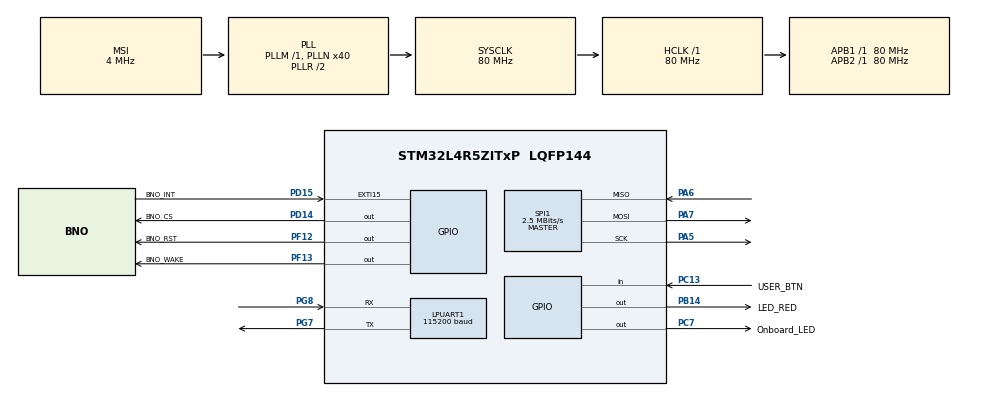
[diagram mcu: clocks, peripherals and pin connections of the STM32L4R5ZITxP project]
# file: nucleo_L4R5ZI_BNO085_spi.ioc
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LPUART1.BaudRate=115200
LPUART1.WordLength=UART_WORDLENGTH_8B
Mcu.Family=STM32L4
Mcu.Name=STM32L4R5ZITxP
Mcu.Package=LQFP144
NVIC.EXTI15_10_IRQn=true\:0\:0\:false\:false\:true\:true\:true\:true
NVIC.LPUART1_IRQn=true\:0\:0\:false\:false\:true\:true\:true\:true
NVIC.PriorityGroup=NVIC_PRIORITYGROUP_4
PA5.Mode=Full_Duplex_Master
PA5.Signal=SPI1_SCK
PA6.Mode=Full_Duplex_Master
PA6.Signal=SPI1_MISO
PA7.Mode=Full_Duplex_Master
PA7.Signal=SPI1_MOSI
PB14.GPIO_Label=LED_RED
PB14.Signal=GPIO_Output
PC13.GPIO_Label=USER_BTN
PC13.Signal=GPIO_Input
PC14-OSC32_IN\ (PC14).Mode=LSE-External-Oscillator
PC14-OSC32_IN\ (PC14).Signal=RCC_OSC32_IN
PC15-OSC32_OUT\ (PC15).Mode=LSE-External-Oscillator
PC15-OSC32_OUT\ (PC15).Signal=RCC_OSC32_OUT
PC7.GPIO_Label=Onboard_LED
PC7.Signal=GPIO_Output
PD14.GPIO_Label=BNO_CS
PD14.PinState=GPIO_PIN_SET
PD14.Signal=GPIO_Output
PD15.GPIO_Label=BNO_INT
PD15.GPIO_ModeDefaultEXTI=GPIO_MODE_IT_FALLING
PD15.GPIO_PuPd=GPIO_PULLUP
PD15.Signal=GPXTI15
PF12.GPIO_Label=BNO_RST
PF12.PinState=GPIO_PIN_SET
PF12.Signal=GPIO_Output
PF13.GPIO_Label=BNO_WAKE
PF13.PinState=GPIO_PIN_SET
PF13.Signal=GPIO_Output
PG7.Mode=Asynchronous
PG7.Signal=LPUART1_TX
PG8.Mode=Asynchronous
PG8.Signal=LPUART1_RX
ProjectManager.HeapSize=0x200
ProjectManager.StackSize=0x400
ProjectManager.TargetToolchain=CMake
RCC.ADCFreq_Value=48000000
RCC.AHBFreq_Value=80000000
RCC.APB1Freq_Value=80000000
RCC.APB1TimFreq_Value=80000000
RCC.APB2Freq_Value=80000000
RCC.APB2TimFreq_Value=80000000
RCC.CortexFreq_Value=80000000
RCC.HCLKFreq_Value=80000000
RCC.HSE_VALUE=8000000
RCC.HSI48_VALUE=48000000
RCC.HSI_VALUE=16000000
RCC.MSIAutoCalibration=ENABLED
RCC.MSI_VALUE=4000000
RCC.PLLN=40
RCC.PLLSAI1N=24
RCC.SYSCLKFreq_VALUE=80000000
RCC.SYSCLKSource=RCC_SYSCLKSOURCE_PLLCLK
RCC.USBFreq_Value=48000000
RCC.VCOOutputFreq_Value=160000000
SPI1.BaudRatePrescaler=SPI_BAUDRATEPRESCALER_32
SPI1.CLKPhase=SPI_PHASE_2EDGE
SPI1.CLKPolarity=SPI_POLARITY_HIGH
SPI1.CalculateBaudRate=2.5 MBits/s
SPI1.DataSize=SPI_DATASIZE_8BIT
SPI1.Direction=SPI_DIRECTION_2LINES
SPI1.Mode=SPI_MODE_MASTER
SPI1.VirtualType=VM_MASTER
board=NUCLEO-L4R5ZI-P

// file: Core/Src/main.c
/* USER CODE BEGIN Header */
/**
  ******************************************************************************
  * @file           : main.c
  * @brief          : Main program body
  ******************************************************************************
  * @attention
  *
  * Copyright (c) 2026 STMicroelectronics.
  * All rights reserved.
  *
  * This software is licensed under terms that can be found in the LICENSE file
  * in the root directory of this software component.
  * If no LICENSE file comes with this software, it is provided AS-IS.
  *
  ******************************************************************************
  */
/* USER CODE END Header */
#include "main.h"

/* USER CODE BEGIN Includes */
#include <stdio.h>
#include <math.h>
#include "bno085.h"
#include "timebase.h"
#include "uart_tx.h"

/* USER CODE END Includes */

/* USER CODE BEGIN PTD */
/* Product ID isteğinin durumu (3. aşama) */
typedef enum
{
  PID_IDLE,      /* reset complete bekleniyor, istek henüz gitmedi */
  PID_WAITING,   /* istek gitti, 0xF8 cevabı bekleniyor */
  PID_DONE,      /* cevap geldi (ya da zaman aşımı uyarısı basıldı) */
} pid_state_t;

/* Bir raporun gerçek geliş hızını RATE_WINDOW_MS'lik pencerede ölçer. */
typedef struct
{
  uint32_t t0;   /* pencerenin başladığı an (0 = henüz başlamadı) */
  uint32_t n0;   /* o andaki rapor sayacı */
  uint32_t hz;   /* son ölçülen hız (0 = henüz ölçülmedi) */
} rate_t;

/* ME (dinamik) kalibrasyon ayarının durumu: oku -> gerekirse gyro'yu aç -> tekrar oku */
typedef enum
{
  CAL_IDLE,        /* raporlar açılınca CAL_SEND_GET'e geçer */
  CAL_SEND_GET,    /* ana döngü Get ME Calibration gönderecek */
  CAL_WAIT_GET,    /* okuma cevabı bekleniyor */
  CAL_SEND_SET,    /* gyro kapalı çıktı: ana döngü açan Configure'ı gönderecek */
  CAL_WAIT_SET,    /* ayarlama cevabı bekleniyor (sonra doğrulamak için tekrar Get) */
  CAL_SEND_DCD_OFF,/* sensörün kendi periyodik DCD kaydını kapat (cevabı yok) */
  CAL_DONE,
} cal_state_t;

/* Buton basılıyken LED geri bildirimi */
typedef enum
{
  LED_FB_OFF,      /* geri bildirim yok (LD1 normal heartbeat) */
  LED_FB_FAST,     /* 2 s geçti: bırakırsan KAYDET */
  LED_FB_SOLID,    /* 6 s geçti: bırakırsan SİL */
} led_fb_t;

/* USER CODE END PTD */

/* USER CODE BEGIN PD */
#define LED_BLINK_MS    500U    /* LD1 (PC7) "yaşıyorum" yanıp sönmesi, yarım periyot */
#define LED_FAST_MS     100U    /* buton 2 s'yi geçti: hızlı yanıp sönme, yarım periyot */
#define FRS_TIMEOUT_MS  2000U   /* FRS silme (flash erase) için bekleme süresi */
#define BOOT_REPLAY_MS  4000U   /* güçle açılışta açılış logunu bu kadar sonra tekrar bas */

/* Buton geri bildirim LED'i: CubeMX'te PB14 (LD3, kırmızı) "LED_RED" etiketiyle
   GPIO_Output yapılmışsa o kullanılır (main.h'de LED_RED_Pin tanımlı olur);
   yapılmamışsa yeşil LD1 (heartbeat'i geçici olarak devralır). */
#ifdef LED_RED_Pin
#define FB_LED_PORT     LED_RED_GPIO_Port
#define FB_LED_PIN      LED_RED_Pin
#define FB_LED_IS_LD1   0
#else
#define FB_LED_PORT     Onboard_LED_GPIO_Port
#define FB_LED_PIN      Onboard_LED_Pin
#define FB_LED_IS_LD1   1
#endif
#define CMD_TIMEOUT_MS  1000U   /* SH-2 komut cevabı (Product ID, ME Calibration) için bekleme */
#define REPORT_INTERVAL_US 10000U  /* açılan tüm raporların periyodu: 10 ms = 100 Hz */
#define RAD2DEG         (180.0f / 3.14159265f)
#define PRINT_MS        100U    /* terminale basma periyodu: 10 Hz */
#define RATE_WINDOW_MS  1000U   /* gerçek rapor hızını bu pencerede ölç */
#define STALL_MS        2000U   /* bu kadar süre rapor gelmezse teşhis bas + sensörü resetle */
#define TIMING_MS       1000U   /* zaman damgası / kayıp özetini bu sıklıkla bas */
#define SOFT_RESET_MS   500U    /* Clear DCD and Reset sonrası advertisement bekleme süresi */
#define BTN_DEBOUNCE_MS 20U     /* buton bu kadar süre aynı kalırsa durumu kabul et */
#define BTN_SAVE_MS     2000U   /* 2..6 s basılı tutup bırak: DCD kaydet */
#define BTN_CLEAR_MS    6000U   /* >= 6 s basılı tutup bırak: kalibrasyonu sil */
#define SAVE_MIN_ACC    2U      /* kayıt için accel/gyro/mag accuracy en az bu olmalı (0..3) */

/* USER CODE END PD */

UART_HandleTypeDef hlpuart1;

SPI_HandleTypeDef hspi1;

/* USER CODE BEGIN PV */
static uint8_t bno_rx[BNO085_RX_BUF_LEN];   /* son okunan SHTP paketi */

static bool        bno_reset_done = false;  /* ch1 "reset complete" görüldü mü */
static pid_state_t pid_state      = PID_IDLE;
static uint32_t    pid_t0;                  /* isteğin gönderildiği an (ms) */

/* Reset sonrası sırayla açılacak raporlar (hepsi REPORT_INTERVAL_US periyotla). */
static const struct
{
  uint8_t     id;
  const char *name;
} reports[] =
{
  { SH2_ROTATION_VECTOR, "Rotation Vector" },
  { SH2_ACCELEROMETER,   "Accelerometer" },
  { SH2_GYROSCOPE_CAL,   "Gyroscope (calibrated)" },
  { SH2_MAGNETIC_FIELD_CAL, "Magnetic field (calibrated)" },  /* mag accuracy'si için */
};
#define NUM_REPORTS  (sizeof(reports) / sizeof(reports[0]))

static uint8_t       reports_sent = 0;      /* kaç Set Feature gönderildi (0 = hiç) */
static bno085_data_t imu;                   /* input report'lardan çözülen son değerler */

static uint32_t      last_alive;            /* son yeni rapor (ya da son reset) anı, ms */
static uint32_t      empty_reads;           /* INT low'du ama header uzunluğu 0 geldi */

static cal_state_t   cal_state     = CAL_IDLE;
static uint32_t      cal_t0;                /* son kalibrasyon komutunun gönderildiği an */
static uint8_t       cal_flags;             /* gönderilecek BNO085_CAL_* bayrakları */
static bool          cal_set_tried = false; /* Configure bir kez denendi mi (döngüye girmesin) */

static bool          dcd_save_pending = false; /* Save DCD gönderildi, cevabı bekleniyor */
static led_fb_t      led_fb = LED_FB_OFF;   /* button_step ayarlar, led_step uygular */
static bool          replay_active = false; /* açılış logu tekrarı sürüyor (canlı satırlar bekler) */
static uint32_t      dcd_save_t0;

/* USER CODE END PV */

void SystemClock_Config(void);
static void MX_GPIO_Init(void);
static void MX_LPUART1_UART_Init(void);
static void MX_SPI1_Init(void);
/* USER CODE BEGIN PFP */
static void print_clock_info(void);
static void bno_restart(void);
static void restart_state(void);
static bool wait_for_packet(uint8_t ch, uint8_t first, uint32_t timeout_ms);
static void button_step(void);
static void save_dcd(void);
static void clear_dcd(void);
static void led_step(void);
static void uart_cmd_step(void);
static void print_sec(uint64_t t_us);
static const char *frs_status_str(uint8_t st);
static void print_stall_diag(void);
static void handle_packet(uint16_t len);
static bool after_write(bno085_status_t st, uint16_t len, const char *what);
static void cal_config_step(void);
static void handle_command_resp(const bno085_cmd_resp_t *resp);
static void print_cal_flags(uint8_t f);
static void request_product_id(void);
static void enable_next_report(void);
static void rate_update(rate_t *r, uint32_t count, uint32_t now);
static void print_hz(const rate_t *r);
static void print_orientation(void);
static void print_timing(void);
static void print_meta(const char *name, bno085_meta_t *m);
static void print_fixed(const char *label, float v, uint8_t decimals, int width);

/* USER CODE END PFP */

int main(void)
{

  /* MCU Configuration--------------------------------------------------------*/

  /* Reset of all peripherals, Initializes the Flash interface and the Systick. */
  HAL_Init();

  /* Configure the system clock */
  SystemClock_Config();

  /* Initialize all configured peripherals */
  MX_GPIO_Init();
  MX_LPUART1_UART_Init();
  MX_SPI1_Init();
  /* USER CODE BEGIN 2 */
  timebase_init();                /* DWT cycle sayacı -> µs zaman damgaları */
  /* __DATE__/__TIME__: main.c'nin derlendiği an -> kartta hangi sürüm var, görürüz. */
  printf("\r\n=== BNO085 SPI test (build %s %s) ===\r\n", __DATE__, __TIME__);
  print_clock_info();

  /* MCU neden resetlendi? RCC_CSR bayrakları sadece güç tamamen kesilince sıfırlanır;
     okuyup temizliyoruz ki bir sonraki açılışta sadece o resetin sebebi görünsün.
     Her iç reset (yazılım, BOR, watchdog) NRST pininde de darbe ürettiği için PIN
     bayrağı neredeyse hep set olur: tek başına PIN = siyah RESET butonu. */
  bool power_on = __HAL_RCC_GET_FLAG(RCC_FLAG_BORRST);
  bool rst_pin  = __HAL_RCC_GET_FLAG(RCC_FLAG_PINRST);
  bool rst_sw   = __HAL_RCC_GET_FLAG(RCC_FLAG_SFTRST);
  bool rst_wdg  = __HAL_RCC_GET_FLAG(RCC_FLAG_IWDGRST) || __HAL_RCC_GET_FLAG(RCC_FLAG_WWDGRST);
  printf("MCU reset bayraklari:%s%s%s%s%s%s%s\r\n",
         power_on ? " BOR" : "", rst_pin ? " PIN" : "", rst_sw ? " SFT" : "",
         rst_wdg ? " WDG" : "",
         __HAL_RCC_GET_FLAG(RCC_FLAG_LPWRRST) ? " LPWR" : "",
         __HAL_RCC_GET_FLAG(RCC_FLAG_OBLRST)  ? " OBL"  : "",
         __HAL_RCC_GET_FLAG(RCC_FLAG_FWRST)   ? " FW"   : "");
  printf("  -> %s\r\n",
         power_on ? "guc verildi ya da besleme gerilimi dustu (BOR)" :
         rst_wdg  ? "watchdog reseti" :
         rst_sw   ? "yazilim reseti (ST-LINK ile flash/reset ya da NVIC_SystemReset)" :
         rst_pin  ? "siyah RESET butonu (NRST pini)" : "bilinmiyor");
  __HAL_RCC_CLEAR_RESET_FLAGS();
  printf("USER_BTN (PC13) bosta = %d (0 beklenir; 2 s basili: DCD kaydet, 6 s: kalibrasyonu sil)\r\n",
         (int)HAL_GPIO_ReadPin(USER_BTN_GPIO_Port, USER_BTN_Pin));

  /* Sensörü temiz bir başlangıca al (önce soft reset, olmazsa RST pini; bkz. bno_restart). */
  bno_restart();

  uint32_t last_print    = HAL_GetTick();
  uint32_t last_timing   = HAL_GetTick();
  uint32_t printed_count = 0;     /* en son basılan RV raporunun sayaç değeri */
  uint32_t alive_count   = 0;     /* bekçinin en son gördüğü RV sayacı */
  bool     boot_log_done = false; /* açılış logu tekrarı yapıldı / gereksiz */

  /* USER CODE END 2 */

  /* Infinite loop */
  while (1)
  {

    /* USER CODE BEGIN 3 */
    timebase_update();              /* CYCCNT taşmalarını say (53 s'de bir taşar) */

    /* Sensörün verisi hazırsa (INT low) bir SHTP paketi oku ve hex bas. */
    if (bno085_data_ready())
    {
      uint16_t len;
      bno085_status_t st = bno085_read_packet(bno_rx, sizeof(bno_rx), &len);
      if (st == BNO_OK)
      {
        if (len <= SHTP_HEADER_LEN)
        {
          empty_reads++;    /* INT "verim var" dedi ama 0 uzunluk okundu: MISO/SCK/CS şüpheli */
        }
        handle_packet(len);
      }
      else
      {
        printf("Okuma hatasi %d, len=%u, ham: ", (int)st, len);
        for (int i = 0; i < 16; i++)
        {
          printf("%02X ", bno_rx[i]);
        }
        printf("\r\n");
        HAL_Delay(100);   /* hata durumunda terminali boğmamak için */
      }
    }

    /* 3. aşama: sensör "reset complete" dedikten sonra bir kez Product ID iste. */
    if (bno_reset_done && pid_state == PID_IDLE)
    {
      request_product_id();
    }
    if (pid_state == PID_WAITING && HAL_GetTick() - pid_t0 > CMD_TIMEOUT_MS)
    {
      printf("UYARI: %u ms icinde 0xF8 cevabi gelmedi.\r\n"
             "  -> Istek gitti mi (ustte HATA var mi)? MOSI kablosu (ADD pini -> PA7)?\r\n",
             CMD_TIMEOUT_MS);
      pid_state = PID_DONE;
    }

    /* 4-5. aşama: Product ID işi bitince raporları sırayla aç (döngü başına bir
       Set Feature; aradaki 0xFC cevapları normal okuma yolundan gelir). */
    if (pid_state == PID_DONE && reports_sent < NUM_REPORTS)
    {
      enable_next_report();
    }

    /* Raporlar açıldıktan sonra: dinamik kalibrasyon ayarını oku / gerekirse düzelt. */
    cal_config_step();

    /* User buton: 2 s -> DCD kaydet, 6 s -> kalibrasyonu sil. */
    button_step();

    /* Seri porttan gelen tek harfli test komutları (bkz. uart_cmd_step). */
    uart_cmd_step();

    /* Güç verilerek açıldıysak seri port o sırada henüz hazır değildi: açılış logu
       bilgisayara ulaşmadı. RAM'deki kopyasını bir kez tekrar bas (bloklamadan, aşağıda). */
    if (!boot_log_done && HAL_GetTick() >= BOOT_REPLAY_MS)
    {
      boot_log_done = true;
      if (power_on)
      {
        printf("\r\n===== ACILIS LOGU (guc verildiginde seri port hazir degildi, tekrar) =====\r\n");
        uart_tx_boot_log_replay();
        replay_active = true;
      }
      else
      {
        uart_tx_boot_log_stop();
      }
    }
    /* Tekrar bloklamadan, kuyrukta yer açıldıkça ilerler; sensör okuması hiç durmaz. */
    if (replay_active && !uart_tx_replay_step())
    {
      replay_active = false;
      printf("\r\n===== ACILIS LOGU SONU =====\r\n");
    }

    /* Sensör 100 Hz gönderir, biz 10 Hz basarız. Her raporu basmaya kalksak
       115200 baud'da UART yetişmez (bir satır ~10 ms sürer). */
    if (HAL_GetTick() - last_print >= PRINT_MS && !replay_active)
    {
      last_print = HAL_GetTick();   /* += değil: print uzarsa birikip patlamasın */
      if (imu.rv.meta.count != printed_count)   /* sadece yeni veri varsa bas, donmuş değeri değil */
      {
        printed_count = imu.rv.meta.count;
        print_orientation();
      }
    }

    /* Saniyede bir: her sensörün örnekleme aralığı (sensör zaman damgalarından) ve kayıplar. */
    if (HAL_GetTick() - last_timing >= TIMING_MS && !replay_active)
    {
      last_timing = HAL_GetTick();
      if (imu.rv.meta.count > 0U)
      {
        print_timing();
      }
    }

    /* Veri bekçisi: STALL_MS boyunca yeni rapor gelmezse sebebe dair ipucu bas,
       sensörü resetle ve açılış sırasını baştan başlat. Kablo düzelince kendini toparlar. */
    if (imu.rv.meta.count != alive_count)
    {
      alive_count = imu.rv.meta.count;
      last_alive  = HAL_GetTick();
    }
    else if (HAL_GetTick() - last_alive > STALL_MS)
    {
      print_stall_diag();
      bno_restart();
    }

    /* LED'ler: LD1 heartbeat + buton geri bildirimi (bloklamadan, SysTick'e bakarak). */
    led_step();
  }
  /* USER CODE END 3 */
}

void SystemClock_Config(void)
{
  RCC_OscInitTypeDef RCC_OscInitStruct = {0};
  RCC_ClkInitTypeDef RCC_ClkInitStruct = {0};

  /** Configure the main internal regulator output voltage
  */
  if (HAL_PWREx_ControlVoltageScaling(PWR_REGULATOR_VOLTAGE_SCALE1) != HAL_OK)
  {
    Error_Handler();
  }

  /** Configure LSE Drive Capability
  */
  HAL_PWR_EnableBkUpAccess();
  __HAL_RCC_LSEDRIVE_CONFIG(RCC_LSEDRIVE_LOW);

  /** Initializes the RCC Oscillators according to the specified parameters
  * in the RCC_OscInitTypeDef structure.
  */
  RCC_OscInitStruct.OscillatorType = RCC_OSCILLATORTYPE_LSE|RCC_OSCILLATORTYPE_MSI;
  RCC_OscInitStruct.LSEState = RCC_LSE_ON;
  RCC_OscInitStruct.MSIState = RCC_MSI_ON;
  RCC_OscInitStruct.MSICalibrationValue = 0;
  RCC_OscInitStruct.MSIClockRange = RCC_MSIRANGE_6;
  RCC_OscInitStruct.PLL.PLLState = RCC_PLL_ON;
  RCC_OscInitStruct.PLL.PLLSource = RCC_PLLSOURCE_MSI;
  RCC_OscInitStruct.PLL.PLLM = 1;
  RCC_OscInitStruct.PLL.PLLN = 40;
  RCC_OscInitStruct.PLL.PLLP = RCC_PLLP_DIV2;
  RCC_OscInitStruct.PLL.PLLQ = RCC_PLLQ_DIV2;
  RCC_OscInitStruct.PLL.PLLR = RCC_PLLR_DIV2;
  if (HAL_RCC_OscConfig(&RCC_OscInitStruct) != HAL_OK)
  {
    Error_Handler();
  }

  /** Initializes the CPU, AHB and APB buses clocks
  */
  RCC_ClkInitStruct.ClockType = RCC_CLOCKTYPE_HCLK|RCC_CLOCKTYPE_SYSCLK
                              |RCC_CLOCKTYPE_PCLK1|RCC_CLOCKTYPE_PCLK2;
  RCC_ClkInitStruct.SYSCLKSource = RCC_SYSCLKSOURCE_PLLCLK;
  RCC_ClkInitStruct.AHBCLKDivider = RCC_SYSCLK_DIV1;
  RCC_ClkInitStruct.APB1CLKDivider = RCC_HCLK_DIV1;
  RCC_ClkInitStruct.APB2CLKDivider = RCC_HCLK_DIV1;

  if (HAL_RCC_ClockConfig(&RCC_ClkInitStruct, FLASH_LATENCY_3) != HAL_OK)
  {
    Error_Handler();
  }

  /** Enable MSI Auto calibration
  */
  HAL_RCCEx_EnableMSIPLLMode();
}

static void MX_LPUART1_UART_Init(void)
{

  hlpuart1.Instance = LPUART1;
  hlpuart1.Init.BaudRate = 115200;
  hlpuart1.Init.WordLength = UART_WORDLENGTH_8B;
  hlpuart1.Init.StopBits = UART_STOPBITS_1;
  hlpuart1.Init.Parity = UART_PARITY_NONE;
  hlpuart1.Init.Mode = UART_MODE_TX_RX;
  hlpuart1.Init.HwFlowCtl = UART_HWCONTROL_NONE;
  hlpuart1.Init.OneBitSampling = UART_ONE_BIT_SAMPLE_DISABLE;
  hlpuart1.Init.ClockPrescaler = UART_PRESCALER_DIV1;
  hlpuart1.AdvancedInit.AdvFeatureInit = UART_ADVFEATURE_NO_INIT;
  hlpuart1.FifoMode = UART_FIFOMODE_DISABLE;
  if (HAL_UART_Init(&hlpuart1) != HAL_OK)
  {
    Error_Handler();
  }
  if (HAL_UARTEx_SetTxFifoThreshold(&hlpuart1, UART_TXFIFO_THRESHOLD_1_8) != HAL_OK)
  {
    Error_Handler();
  }
  if (HAL_UARTEx_SetRxFifoThreshold(&hlpuart1, UART_RXFIFO_THRESHOLD_1_8) != HAL_OK)
  {
    Error_Handler();
  }
  if (HAL_UARTEx_DisableFifoMode(&hlpuart1) != HAL_OK)
  {
    Error_Handler();
  }

}

static void MX_SPI1_Init(void)
{

  /* SPI1 parameter configuration*/
  hspi1.Instance = SPI1;
  hspi1.Init.Mode = SPI_MODE_MASTER;
  hspi1.Init.Direction = SPI_DIRECTION_2LINES;
  hspi1.Init.DataSize = SPI_DATASIZE_8BIT;
  hspi1.Init.CLKPolarity = SPI_POLARITY_HIGH;
  hspi1.Init.CLKPhase = SPI_PHASE_2EDGE;
  hspi1.Init.NSS = SPI_NSS_SOFT;
  hspi1.Init.BaudRatePrescaler = SPI_BAUDRATEPRESCALER_32;
  hspi1.Init.FirstBit = SPI_FIRSTBIT_MSB;
  hspi1.Init.TIMode = SPI_TIMODE_DISABLE;
  hspi1.Init.CRCCalculation = SPI_CRCCALCULATION_DISABLE;
  hspi1.Init.CRCPolynomial = 7;
  hspi1.Init.CRCLength = SPI_CRC_LENGTH_DATASIZE;
  hspi1.Init.NSSPMode = SPI_NSS_PULSE_DISABLE;
  if (HAL_SPI_Init(&hspi1) != HAL_OK)
  {
    Error_Handler();
  }
  /* USER CODE BEGIN SPI1_Init 2 */
  /* HAL, SPI'ı (SPE biti) normalde ilk transferde açar. O ana kadar SCK pini
     sürülmez ve havada kalır. CS low olduktan sonra SPE açılırsa SCK low->high
     zıplar ve sensör bunu fazladan bir clock kenarı sayabilir -> bitler kayar.
     SPI'ı şimdi açınca SCK hemen CPOL=1 seviyesine (high) oturur. */
  __HAL_SPI_ENABLE(&hspi1);
  /* USER CODE END SPI1_Init 2 */

}

static void MX_GPIO_Init(void)
{
  GPIO_InitTypeDef GPIO_InitStruct = {0};

  /* GPIO Ports Clock Enable */
  __HAL_RCC_GPIOC_CLK_ENABLE();
  __HAL_RCC_GPIOA_CLK_ENABLE();
  __HAL_RCC_GPIOF_CLK_ENABLE();
  __HAL_RCC_GPIOB_CLK_ENABLE();
  __HAL_RCC_GPIOD_CLK_ENABLE();
  __HAL_RCC_GPIOG_CLK_ENABLE();
  HAL_PWREx_EnableVddIO2();

  /*Configure GPIO pin Output Level */
  HAL_GPIO_WritePin(GPIOF, BNO_RST_Pin|BNO_WAKE_Pin, GPIO_PIN_SET);

  /*Configure GPIO pin Output Level */
  HAL_GPIO_WritePin(LED_RED_GPIO_Port, LED_RED_Pin, GPIO_PIN_RESET);

  /*Configure GPIO pin Output Level */
  HAL_GPIO_WritePin(BNO_CS_GPIO_Port, BNO_CS_Pin, GPIO_PIN_SET);

  /*Configure GPIO pin Output Level */
  HAL_GPIO_WritePin(Onboard_LED_GPIO_Port, Onboard_LED_Pin, GPIO_PIN_RESET);

  /*Configure GPIO pin : USER_BTN_Pin */
  GPIO_InitStruct.Pin = USER_BTN_Pin;
  GPIO_InitStruct.Mode = GPIO_MODE_INPUT;
  GPIO_InitStruct.Pull = GPIO_NOPULL;
  HAL_GPIO_Init(USER_BTN_GPIO_Port, &GPIO_InitStruct);

  /*Configure GPIO pins : BNO_RST_Pin BNO_WAKE_Pin */
  GPIO_InitStruct.Pin = BNO_RST_Pin|BNO_WAKE_Pin;
  GPIO_InitStruct.Mode = GPIO_MODE_OUTPUT_PP;
  GPIO_InitStruct.Pull = GPIO_NOPULL;
  GPIO_InitStruct.Speed = GPIO_SPEED_FREQ_LOW;
  HAL_GPIO_Init(GPIOF, &GPIO_InitStruct);

  /*Configure GPIO pin : LED_RED_Pin */
  GPIO_InitStruct.Pin = LED_RED_Pin;
  GPIO_InitStruct.Mode = GPIO_MODE_OUTPUT_PP;
  GPIO_InitStruct.Pull = GPIO_NOPULL;
  GPIO_InitStruct.Speed = GPIO_SPEED_FREQ_LOW;
  HAL_GPIO_Init(LED_RED_GPIO_Port, &GPIO_InitStruct);

  /*Configure GPIO pin : BNO_CS_Pin */
  GPIO_InitStruct.Pin = BNO_CS_Pin;
  GPIO_InitStruct.Mode = GPIO_MODE_OUTPUT_PP;
  GPIO_InitStruct.Pull = GPIO_NOPULL;
  GPIO_InitStruct.Speed = GPIO_SPEED_FREQ_LOW;
  HAL_GPIO_Init(BNO_CS_GPIO_Port, &GPIO_InitStruct);

  /*Configure GPIO pin : BNO_INT_Pin */
  GPIO_InitStruct.Pin = BNO_INT_Pin;
  GPIO_InitStruct.Mode = GPIO_MODE_IT_FALLING;
  GPIO_InitStruct.Pull = GPIO_PULLUP;
  HAL_GPIO_Init(BNO_INT_GPIO_Port, &GPIO_InitStruct);

  /*Configure GPIO pin : Onboard_LED_Pin */
  GPIO_InitStruct.Pin = Onboard_LED_Pin;
  GPIO_InitStruct.Mode = GPIO_MODE_OUTPUT_PP;
  GPIO_InitStruct.Pull = GPIO_NOPULL;
  GPIO_InitStruct.Speed = GPIO_SPEED_FREQ_LOW;
  HAL_GPIO_Init(Onboard_LED_GPIO_Port, &GPIO_InitStruct);

  /* EXTI interrupt init*/
  HAL_NVIC_SetPriority(EXTI15_10_IRQn, 0, 0);
  HAL_NVIC_EnableIRQ(EXTI15_10_IRQn);

}

/* USER CODE BEGIN 4 */
/* EXTI15_10 IRQ -> HAL_GPIO_EXTI_IRQHandler -> burası. ISR'da sadece bayrak. */
void HAL_GPIO_EXTI_Callback(uint16_t GPIO_Pin)
{
  if (GPIO_Pin == BNO_INT_Pin)
  {
    bno085_int_isr();
  }
}

/* printf -> __io_putchar artık uart_tx.c'de: ring buffer + LPUART1 interrupt,
   printf UART'ı beklemeden döner. */

/* Saat ağacını register'lardan okuyup gerçek SPI1 SCK frekansını hesaplar.
   SPI1, APB2 (PCLK2) üzerinde. SPI_CR1.BR[2:0] alanı bölücüyü seçer:
   BR = 0..7  ->  fPCLK / 2^(BR+1)  (/2, /4, ... /256). */
static void print_clock_info(void)
{
  uint32_t sysclk = HAL_RCC_GetSysClockFreq();
  uint32_t pclk2  = HAL_RCC_GetPCLK2Freq();
  uint32_t br     = (SPI1->CR1 & SPI_CR1_BR) >> SPI_CR1_BR_Pos;
  uint32_t div    = 2U << br;
  uint32_t sck    = pclk2 / div;

  printf("SYSCLK = %lu kHz, PCLK2 = %lu kHz\r\n",
         (unsigned long)(sysclk / 1000U), (unsigned long)(pclk2 / 1000U));
  printf("SPI1 SCK = PCLK2 / %lu = %lu kHz\r\n",
         (unsigned long)div, (unsigned long)(sck / 1000U));
  if (sck > 3000000U)
  {
    printf("UYARI: SCK > 3 MHz, BNO085 icin cok hizli! Prescaler'i artir.\r\n");
  }

  /* MSI (PLL'in kaynağı) tek başına ~%1 sapabilir. LSE (32.768 kHz kristal) açık ve
     MSIPLLEN=1 ise donanım MSI'ı sürekli kristale göre düzeltir. */
  bool lse    = (RCC->BDCR & RCC_BDCR_LSERDY) != 0U;
  bool msipll = (RCC->CR & RCC_CR_MSIPLLEN) != 0U;
  printf("Saat: LSE kristal %s, MSI otomatik kalibrasyon (LSE'ye kilit) %s\r\n",
         lse ? "CALISIYOR" : "kapali", msipll ? "ACIK" : "kapali");
}

/* Sensörü RST pininden resetler ve açılış sırasını (reset complete -> Product ID
   -> Rotation Vector) baştan başlatır. Açılışta ve veri bekçisi tetiklenince çağrılır.
   RST, sensör "takılmış" olsa bile (ör. besleme anlık kesilip pinlerden yarım
   beslendiyse) onu temiz bir başlangıca zorlar. */
static void bno_restart(void)
{
  uint16_t len;
  uint32_t t0 = HAL_GetTick();

  restart_state();

  /* 1) Önce soft reset (Clear DCD and Reset): sensör RAM'deki DCD'yi flash'a YAZMADAN
        yeniden başlar ve flash'taki (en son bilerek kaydettiğimiz) DCD'yi yükler.
        RST pini ise power-up dışı reset sayılır, sensör RAM'deki DCD'yi flash'a yazar
        (SH-2 RM 6.4.10) -> her açılışta/flash'lamada istemeden kayıt olurdu. */
  printf("BNO085 soft reset (Clear DCD and Reset)...\r\n");
  if (bno085_soft_reset(bno_rx, sizeof(bno_rx), &len, SOFT_RESET_MS) == BNO_OK)
  {
    printf("Sensor %lu ms'de yeniden basladi (RAM'deki DCD flash'a yazilmadi). Paketler:\r\n",
           (unsigned long)(HAL_GetTick() - t0));
    handle_packet(len);                    /* soft reset'in yakaladığı advertisement */
    last_alive = HAL_GetTick();
    return;
  }

  /* 2) Sensör SPI'dan cevap vermiyor (power-up'ta PS0 henüz ayarlı değilken yanlış
        modda açılmış olabilir, ya da takılmış): RST pini. PS0 artık kesin High,
        sensör reset çıkışında PS0=PS1=1 okuyup SPI moduna girer. */
  printf("  soft reset olmadi -> RST pini (hard reset)...\r\n");
  t0 = HAL_GetTick();
  if (bno085_hard_reset(500) == BNO_OK)
  {
    printf("INT low, %lu ms sonra. Paketler:\r\n", (unsigned long)(HAL_GetTick() - t0));
  }
  else
  {
    printf("HATA: reset sonrasi 500 ms icinde INT low olmadi!\r\n"
           "  -> VCC/GND, RST(PF12) High mi, PS0/PS1 ~3.3 V mu, INT kablosu (PD15)?\r\n");
  }
  last_alive = HAL_GetTick();          /* bekçi süresi resetten itibaren saysın */
}

/* Açılış sırasının (reset complete -> Product ID -> raporlar -> kalibrasyon) durumunu
   başa al. Sensör her resetlendiğinde (bizim ya da kendi isteğiyle) çağrılır. */
static void restart_state(void)
{
  bno_reset_done   = false;
  pid_state        = PID_IDLE;
  reports_sent     = 0;
  cal_state        = CAL_IDLE;             /* ME Calibration ayarı resetle varsayılana döner */
  cal_set_tried    = false;
  dcd_save_pending = false;
  bno085_data_restart(&imu);               /* sensörün seq'leri 0'dan başlayacak */
}

/* Kanalı ch ve ilk byte'ı first olan paket gelene kadar okur (bloklar, timeout'lu).
   Arada gelen paketler normal yoldan (handle_packet) işlenir. */
static bool wait_for_packet(uint8_t ch, uint8_t first, uint32_t timeout_ms)
{
  uint32_t t0 = HAL_GetTick();
  while (HAL_GetTick() - t0 < timeout_ms)
  {
    uint16_t len;
    if (bno085_data_ready() &&
        bno085_read_packet(bno_rx, sizeof(bno_rx), &len) == BNO_OK && len > SHTP_HEADER_LEN)
    {
      bool match = (bno_rx[2] == ch && bno_rx[SHTP_HEADER_LEN] == first);
      handle_packet(len);
      if (match)
      {
        return true;
      }
    }
  }
  return false;
}

/* User buton (PC13, Nucleo'da basılıyken high). Kazara işlem olmasın diye eylem
   bırakınca yapılır ve basılı tutma süresine göre seçilir:
     < 2 s  : hiçbir şey      2..6 s : DCD kaydet      >= 6 s : kalibrasyonu sil
   Kontaklar basarken/bırakırken birkaç ms zıplar (bounce): durum BTN_DEBOUNCE_MS
   boyunca değişmeden kalırsa kabul edilir. */
static void button_step(void)
{
  static bool     raw_last   = false;
  static uint32_t raw_change = 0;
  static bool     pressed    = false;     /* debounce edilmiş durum */
  static uint32_t t_down;
  static uint8_t  stage;                  /* 0: <2 s, 1: kaydet bölgesi, 2: sil bölgesi */

  uint32_t now = HAL_GetTick();
  bool     raw = (HAL_GPIO_ReadPin(USER_BTN_GPIO_Port, USER_BTN_Pin) == GPIO_PIN_SET);
  if (raw != raw_last)
  {
    raw_last   = raw;
    raw_change = now;
  }

  if (now - raw_change >= BTN_DEBOUNCE_MS && raw != pressed)
  {
    pressed = raw;
    led_fb = LED_FB_OFF;                  /* basıldı ya da bırakıldı: geri bildirim baştan */
    if (pressed)
    {
      t_down = now;
      stage  = 0;
    }
    else if (stage == 1U)
    {
      save_dcd();
    }
    else if (stage == 2U)
    {
      clear_dcd();
    }
    else
    {
      printf("[buton] kisa basma: islem yok (2 s basili: kaydet, 6 s: sil)\r\n");
    }
  }
  else if (pressed)
  {
    uint32_t held = now - t_down;
    if (stage == 0U && held >= BTN_SAVE_MS)
    {
      stage  = 1;
      led_fb = LED_FB_FAST;
      printf("[buton] simdi birakirsan: DCD KAYDET  (6 s'ye kadar tutarsan: kalibrasyonu SIL)\r\n");
    }
    else if (stage == 1U && held >= BTN_CLEAR_MS)
    {
      stage  = 2;
      led_fb = LED_FB_SOLID;
      printf("[buton] simdi birakirsan: kalibrasyon SILINECEK (flash'taki DCD + RAM)\r\n");
    }
  }

  /* Save DCD cevabı handle_command_resp'te gelir; gelmezse uyar. */
  if (dcd_save_pending && now - dcd_save_t0 > CMD_TIMEOUT_MS)
  {
    printf("UYARI: %u ms icinde Save DCD cevabi gelmedi\r\n", CMD_TIMEOUT_MS);
    dcd_save_pending = false;
  }
}

/* Kalibrasyon yeterince iyiyse RAM'deki DCD'yi flash'a kaydettir. Kötü bir
   kalibrasyon kaydedilirse kalıcı olur ve flash'ın yazma ömrü sınırlıdır: bu yüzden
   sadece butonla ve accel/gyro/mag accuracy >= SAVE_MIN_ACC iken. */
static void save_dcd(void)
{
  uint8_t a = imu.accel.status, g = imu.gyro.status, m = imu.mag.status;
  uint16_t len;

  printf("[DCD] kaydet istegi: accel acc=%u gyro acc=%u mag acc=%u (en az %u gerekli)\r\n",
         a, g, m, SAVE_MIN_ACC);
  if (imu.mag.meta.count == 0U || a < SAVE_MIN_ACC || g < SAVE_MIN_ACC || m < SAVE_MIN_ACC)
  {
    printf("  -> KAYDEDILMEDI, sebep:");
    if (imu.mag.meta.count == 0U) printf(" mag raporu henuz gelmedi");
    if (a < SAVE_MIN_ACC)         printf(" accel acc=%u", a);
    if (g < SAVE_MIN_ACC)         printf(" gyro acc=%u", g);
    if (m < SAVE_MIN_ACC)         printf(" mag acc=%u", m);
    printf(" (< %u)\r\n", SAVE_MIN_ACC);
    printf("     Once kalibrasyon hareketleri (CEVA proseduru):\r\n"
           "     accel: 4-6 farkli yonde ~1 s sabit tut | gyro: 2-3 s masada birak |\r\n"
           "     mag: her eksende ~180 derece cevir ve geri (~2 s/eksen)\r\n");
    return;
  }

  printf("-> Save DCD (ch2: F2, komut 06)\r\n");
  dcd_save_pending = true;
  dcd_save_t0      = HAL_GetTick();
  bno085_status_t st = bno085_save_dcd(bno_rx, sizeof(bno_rx), &len);
  if (!after_write(st, len, "Save DCD"))
  {
    dcd_save_pending = false;
  }
}

/* Kaydedilmiş kalibrasyonu tamamen sil. SH-2 RM 6.4.10'un önerdiği sıra:
     1) hub'ı resetle  2) flash'taki DCD kaydını FRS ile sil  3) Clear DCD and Reset
   Sadece 3) yetmez: o, RAM'deki DCD'yi siler; flash'taki kopya açılışta yine yüklenir.
   Nadir, bilerek yapılan bir işlem olduğu için bloklayarak (~1 s) yapılıyor. */
static void clear_dcd(void)
{
  uint16_t len;

  printf("[DCD] kalibrasyon SILINIYOR\r\n");

  printf("  1/3 Clear DCD and Reset\r\n");
  restart_state();
  if (bno085_soft_reset(bno_rx, sizeof(bno_rx), &len, SOFT_RESET_MS) != BNO_OK ||
      !wait_for_packet(SHTP_CH_EXECUTABLE, 0x01U, CMD_TIMEOUT_MS))   /* reset complete */
  {
    printf("HATA: sensor soft reset'e cevap vermedi, silme yarida kesildi\r\n");
    bno_restart();
    return;
  }

  printf("  2/3 flash'taki DCD kaydi siliniyor (FRS write: 0xF7, tip 0x%04X, uzunluk 0)\r\n",
         BNO085_FRS_DCD);
  bno085_status_t st = bno085_frs_erase(BNO085_FRS_DCD, bno_rx, sizeof(bno_rx), &len);
  if (after_write(st, len, "FRS erase"))
  {
    /* Sensör birden fazla 0xF5 gönderir: önce 4 (yazma moduna girildi), iş bitince
       3 (yazma tamam). 0, 4, 8 ara durum -> beklemeye devam; 3 başarı; gerisi hata.
       3'ü beklemeden resetlersek silme yarıda kalabilir. */
    uint32_t t0      = HAL_GetTick();
    uint8_t  frs_st  = 0xFFU;
    bool     waiting = true;
    while (waiting && HAL_GetTick() - t0 < FRS_TIMEOUT_MS)
    {
      if (wait_for_packet(SHTP_CH_CONTROL, SH2_FRS_WRITE_RESP, FRS_TIMEOUT_MS) &&
          bno085_parse_frs_write_resp(bno_rx, sizeof(bno_rx), &frs_st))
      {
        waiting = (frs_st == 0U || frs_st == 4U || frs_st == 8U);
      }
    }
    if (frs_st == 3U)
    {
      printf("  -> flash'taki DCD kaydi SILINDI\r\n");
    }
    else
    {
      printf("UYARI: FRS silme bitmedi (son status %u: %s)\r\n", frs_st, frs_status_str(frs_st));
    }
  }

  printf("  3/3 Clear DCD and Reset\r\n");
  bno_restart();                           /* soft reset + normal açılış sırası */
}

/* LD1: 500 ms heartbeat ("firmware çalışıyor"). Buton basılıyken geri bildirim LED'i
   2 s'den sonra hızlı yanıp söner (bırakırsan KAYDET), 6 s'den sonra sürekli yanar
   (bırakırsan SİL). Geri bildirim LD1'deyse heartbeat o sırada durur. */
static void led_step(void)
{
  static uint32_t last_hb   = 0;
  static uint32_t last_fast = 0;
  uint32_t now = HAL_GetTick();

  if (!(FB_LED_IS_LD1 && led_fb != LED_FB_OFF) && now - last_hb >= LED_BLINK_MS)
  {
    last_hb = now;
    HAL_GPIO_TogglePin(Onboard_LED_GPIO_Port, Onboard_LED_Pin);
  }

  switch (led_fb)
  {
    case LED_FB_FAST:
      if (now - last_fast >= LED_FAST_MS)
      {
        last_fast = now;
        HAL_GPIO_TogglePin(FB_LED_PORT, FB_LED_PIN);
      }
      break;
    case LED_FB_SOLID:
      HAL_GPIO_WritePin(FB_LED_PORT, FB_LED_PIN, GPIO_PIN_SET);
      break;
    default:
      if (!FB_LED_IS_LD1)
      {
        HAL_GPIO_WritePin(FB_LED_PORT, FB_LED_PIN, GPIO_PIN_RESET);
      }
      break;
  }
}

/* Seri porttan (LPUART1 RX) tek harfli test komutları. Interrupt gerekmez: ana döngü
   RXNE bayrağına bakar. Bilgisayardan örn. `printf b > /dev/cu.usbmodemXXXX` ile gönderilir.
     'b' : ana döngüyü 300 ms blokla ("sensörü geç okuma" testi: zaman damgaları bozuluyor mu?)
     'r' : açılış logunu tekrar bas (bloklamadan) */
static void uart_cmd_step(void)
{
  if (__HAL_UART_GET_FLAG(&hlpuart1, UART_FLAG_ORE))
  {
    __HAL_UART_CLEAR_OREFLAG(&hlpuart1);    /* okunmamış byte üstüne yenisi geldi: bayrağı temizle */
  }
  if (!__HAL_UART_GET_FLAG(&hlpuart1, UART_FLAG_RXNE))
  {
    return;
  }
  uint8_t c = (uint8_t)(hlpuart1.Instance->RDR & 0xFFU);   /* RDR okumak RXNE'yi temizler */
  if (c == 'b')
  {
    printf("[test] ana dongu 300 ms bloklaniyor (gec okuma testi)\r\n");
    HAL_Delay(300);
  }
  else if (c == 'r' && !replay_active)
  {
    printf("\r\n===== ACILIS LOGU (istek uzerine tekrar) =====\r\n");
    uart_tx_boot_log_replay();
    replay_active = true;
  }
}

/* 64 bit µs'yi "saniye.mikrosaniye" bas (nano printf %llu desteklemiyor). */
static void print_sec(uint64_t t_us)
{
  printf("%lu.%06lu", (unsigned long)(t_us / 1000000U), (unsigned long)(t_us % 1000000U));
}

/* FRS Write Response status kodları (SH-2 RM 6.3.5). */
static const char *frs_status_str(uint8_t st)
{
  switch (st)
  {
    case 0:  return "word(ler) alindi";
    case 1:  return "bilinmeyen kayit tipi";
    case 2:  return "mesgul";
    case 3:  return "yazma tamamlandi";
    case 4:  return "yazma moduna girildi, bitmesi bekleniyor";
    case 5:  return "yazma hatasi";
    case 6:  return "yazma modunda degil";
    case 7:  return "gecersiz uzunluk";
    case 8:  return "kayit gecerli";
    case 9:  return "kayit gecersiz";
    case 10: return "cihaz hatasi";
    case 11: return "kayit salt okunur";
    default: return "cevap yok / bilinmiyor";
  }
}

/* Veri kesilince: o anki INT seviyesine ve boş okuma sayısına bakarak hangi
   hattın şüpheli olduğunu söyler. */
static void print_stall_diag(void)
{
  bool int_low = bno085_data_ready();  /* INT pininin şu anki seviyesi */

  printf("\r\nUYARI: %lu ms'dir yeni rapor yok. INT=%s, bos okuma=%lu, son header: %02X %02X %02X %02X\r\n",
         (unsigned long)(HAL_GetTick() - last_alive), int_low ? "LOW" : "HIGH",
         (unsigned long)empty_reads, bno_rx[0], bno_rx[1], bno_rx[2], bno_rx[3]);
  if (int_low || empty_reads > 0U)
  {
    /* Sensör "verim var" diyor, biz okuyoruz ama hep 0 geliyor. */
    printf("  -> Sensor veri vermek istiyor ama okunamiyor: MISO (SDA->PA6), SCK (SCL->PA5), CS (PD14)?\r\n");
  }
  else
  {
    /* Sensör hiç "verim var" demiyor. */
    printf("  -> INT hic low olmuyor: INT kablosu (PD15), sensor beslemesi (VCC/GND) ya da sensor takildi.\r\n");
  }
  empty_reads = 0;
}

/* bno_rx'teki bir SHTP paketini işler: hex dump + tanıdığımız paketlere tepki.
   Normal okumadan da, yazma sırasında (full-duplex) gelen paket de buradan geçer. */
static void handle_packet(uint16_t len)
{
  if (len <= SHTP_HEADER_LEN)
  {
    return;                                   /* boş transfer: sensörün verisi yoktu */
  }
  /* Paket buffer'dan uzunsa çözücülere sadece sığan kısmı ver. */
  uint16_t valid = (len < sizeof(bno_rx)) ? len : (uint16_t)sizeof(bno_rx);
  uint8_t  ch    = bno_rx[2];
  uint8_t  first = bno_rx[SHTP_HEADER_LEN];   /* payload'ın ilk byte'ı = rapor/komut ID */

  /* Input report'lar 100 Hz gelir: hex basmak UART'ı boğar, sadece çöz. */
  if (ch == SHTP_CH_REPORTS)
  {
    static bool warned = false;
    if (!bno085_parse_input_reports(bno_rx, valid, bno085_last_int_us(), &imu) && !warned)
    {
      printf("UYARI: ch3'te taninmayan rapor ID (sadece ilk sefer basiliyor):\r\n");
      bno085_dump_packet(bno_rx, len);
      warned = true;
    }
    return;
  }

  bno085_dump_packet(bno_rx, len);

  if (ch == SHTP_CH_EXECUTABLE && first == 0x01U)
  {
    if (reports_sent > 0U)
    {
      /* Biz resetlemedik ama reset complete geldi: sensör kendi kendine resetlendi
         (besleme teması koptu-geldi?). Reset sonrası tüm raporlar kapalı -> yeniden aç. */
      printf("UYARI: sensor kendiliginden resetlendi (VCC/GND temasi?) -> raporlar yeniden aciliyor\r\n");
      reports_sent  = 0;
      cal_state     = CAL_IDLE;
      bno085_data_restart(&imu);
      cal_set_tried = false;
    }
    bno_reset_done = true;
  }
  if (bno085_print_product_id(bno_rx, valid) && pid_state == PID_WAITING)
  {
    /* Cevap birden fazla pakete bölünebiliyor: süreyi sadece ilkinde bas. */
    printf("  (istekten %lu ms sonra)\r\n", (unsigned long)(HAL_GetTick() - pid_t0));
    pid_state = PID_DONE;
  }
  (void)bno085_print_feature_resp(bno_rx, valid);

  bno085_cmd_resp_t resp;
  if (bno085_parse_command_resp(bno_rx, valid, &resp))
  {
    handle_command_resp(&resp);
  }

  uint8_t frs_status;
  if (bno085_parse_frs_write_resp(bno_rx, valid, &frs_status))
  {
    printf("  FRS yazma cevabi: status %u (%s)\r\n", frs_status, frs_status_str(frs_status));
  }
}

/* ME Calibration akışının ana döngü tarafı: komut gönderir, zaman aşımına bakar.
   Cevaplar handle_command_resp()'ta işlenip durumu ilerletir. */
static void cal_config_step(void)
{
  uint16_t        len;
  bno085_status_t st;

  switch (cal_state)
  {
    case CAL_IDLE:
      if (reports_sent == NUM_REPORTS)
      {
        cal_state = CAL_SEND_GET;
      }
      break;

    case CAL_SEND_GET:
      printf("-> ME kalibrasyon ayari okunuyor (ch2: F2, komut 07, Get)\r\n");
      cal_t0    = HAL_GetTick();
      cal_state = CAL_WAIT_GET;
      st = bno085_get_cal_config(bno_rx, sizeof(bno_rx), &len);
      if (!after_write(st, len, "Get ME Calibration"))
      {
        cal_state = CAL_SEND_DCD_OFF;
      }
      break;

    case CAL_SEND_SET:
      printf("-> ME kalibrasyon ayarlaniyor (ch2: F2, komut 07, Configure):");
      print_cal_flags(cal_flags);
      cal_set_tried = true;
      cal_t0        = HAL_GetTick();
      cal_state     = CAL_WAIT_SET;
      st = bno085_set_cal_config(cal_flags, bno_rx, sizeof(bno_rx), &len);
      if (!after_write(st, len, "Configure ME Calibration"))
      {
        cal_state = CAL_SEND_DCD_OFF;
      }
      break;

    case CAL_SEND_DCD_OFF:
      /* Sensör DCD'yi kendi kendine periyodik kaydetmesin: kayıt sadece bizim
         kontrolümüzde (buton). Bu komutun cevabı yok. */
      printf("-> Periyodik DCD kaydi kapatiliyor (ch2: F2, komut 09, P0=1; cevabi yok)\r\n");
      cal_state = CAL_DONE;
      st = bno085_set_dcd_autosave(false, bno_rx, sizeof(bno_rx), &len);
      (void)after_write(st, len, "Configure Periodic DCD Save");
      break;

    case CAL_WAIT_GET:
    case CAL_WAIT_SET:
      if (HAL_GetTick() - cal_t0 > CMD_TIMEOUT_MS)
      {
        printf("UYARI: %u ms icinde ME kalibrasyon cevabi (0xF1, komut 07) gelmedi\r\n",
               CMD_TIMEOUT_MS);
        cal_state = CAL_SEND_DCD_OFF;
      }
      break;

    default:
      break;
  }
}

/* ch2 komut cevabı (0xF1) geldi: neyin cevabı olduğuna göre bas ve akışı ilerlet. */
static void handle_command_resp(const bno085_cmd_resp_t *resp)
{
  uint8_t status = resp->r[0];

  if (resp->command == SH2_CMD_INITIALIZE)
  {
    printf("  Initialize cevabi: status %u%s\r\n", status,
           resp->unsolicited ? " (reset sonrasi sensor kendiliginden gonderdi)" : "");
    return;
  }
  if (resp->command == SH2_CMD_SAVE_DCD)
  {
    printf("  Save DCD cevabi: status %u -> %s\r\n", status,
           (status == 0U) ? "kalibrasyon flash'a KAYDEDILDI" : "HATA, kaydedilemedi");
    dcd_save_pending = false;
    return;
  }
  if (resp->command != SH2_CMD_ME_CAL)
  {
    printf("  Komut 0x%02X cevabi: status %u\r\n", resp->command, status);
    return;
  }

  /* Configure cevabında sadece status anlamlı; ayarın tuttuğunu tekrar okuyarak görelim. */
  if (cal_state == CAL_WAIT_SET)
  {
    printf("  ME kalibrasyon ayari: status %u (%s) -> dogrulamak icin tekrar okunuyor\r\n",
           status, (status == 0U) ? "basarili" : "HATA");
    cal_state = CAL_SEND_GET;
    return;
  }

  uint8_t cal = bno085_cal_flags(resp);
  printf("  ME kalibrasyon (status %u, %lu ms):", status, (unsigned long)(HAL_GetTick() - cal_t0));
  print_cal_flags(cal);
  if (cal_state != CAL_WAIT_GET)
  {
    return;                                   /* beklemediğimiz bir cevap: sadece bas */
  }

  if ((cal & BNO085_CAL_GYRO) == 0U && !cal_set_tried)
  {
    /* Mevcut ayarları koru, sadece gyro'yu ekle. */
    printf("  -> gyro dinamik kalibrasyonu KAPALI, aciliyor\r\n");
    cal_flags = cal | BNO085_CAL_GYRO;
    cal_state = CAL_SEND_SET;
  }
  else
  {
    if ((cal & BNO085_CAL_GYRO) == 0U)
    {
      printf("UYARI: gyro kalibrasyonu acilamadi (Configure sonrasi hala kapali)\r\n");
    }
    cal_state = CAL_SEND_DCD_OFF;
  }
}

static void print_cal_flags(uint8_t f)
{
  printf(" accel=%s gyro=%s mag=%s planar=%s on-table=%s\r\n",
         (f & BNO085_CAL_ACCEL)    ? "ACIK" : "kapali",
         (f & BNO085_CAL_GYRO)     ? "ACIK" : "kapali",
         (f & BNO085_CAL_MAG)      ? "ACIK" : "kapali",
         (f & BNO085_CAL_PLANAR)   ? "ACIK" : "kapali",
         (f & BNO085_CAL_ON_TABLE) ? "ACIK" : "kapali");
}

/* Yazma sonucunu işler: hata varsa anlamlı mesaj basar; yazarken (full-duplex)
   sensörden paket geldiyse onu da normal paket gibi işler. true = paket gitti. */
static bool after_write(bno085_status_t st, uint16_t len, const char *what)
{
  if (st != BNO_OK)
  {
    printf("HATA: %s gonderilemedi (%d)%s\r\n", what, (int)st,
           (st == BNO_ERR_TIMEOUT) ? " -> WAKE (PF13) low iken INT 10 ms'de low olmadi" : "");
    return false;
  }
  if (len > SHTP_HEADER_LEN)
  {
    printf("   yazarken gelen paket (full-duplex):\r\n");
    handle_packet(len);
  }
  return true;
}

/* ch2'ye Product ID Request: [0xF9, 0x00]. Cevap (0xF8) ana döngüde okunur. */
static void request_product_id(void)
{
  static const uint8_t req[2] = { SH2_PRODUCT_ID_REQ, 0x00U };   /* [1] reserved */
  uint16_t len;

  printf("-> Product ID istegi (ch2: F9 00)\r\n");
  pid_t0    = HAL_GetTick();
  pid_state = PID_WAITING;

  bno085_status_t st = bno085_write_packet(SHTP_CH_CONTROL, req, sizeof(req),
                                           bno_rx, sizeof(bno_rx), &len);
  if (!after_write(st, len, "Product ID istegi"))
  {
    pid_state = PID_DONE;
  }
}

/* reports[] listesindeki sıradaki raporu REPORT_INTERVAL_US periyotla açar.
   Sensör ch2'de 0xFC ile kabul ettiği periyodu bildirir, raporlar ch3'ten akar. */
static void enable_next_report(void)
{
  uint16_t len;
  uint8_t  id = reports[reports_sent].id;

  printf("-> Set Feature: %s (0x%02X), %lu us\r\n",
         reports[reports_sent].name, id, (unsigned long)REPORT_INTERVAL_US);
  reports_sent++;
  bno085_status_t st = bno085_enable_report(id, REPORT_INTERVAL_US, bno_rx, sizeof(bno_rx), &len);
  (void)after_write(st, len, "Set Feature");

  if (reports_sent == NUM_REPORTS)
  {
    printf("   acc = accuracy durumu: 0 guvenilmez, 1 dusuk, 2 orta, 3 yuksek\r\n");
  }
}

/* count: raporun şimdiye kadarki toplam sayısı. Pencere dolunca hızı günceller. */
static void rate_update(rate_t *r, uint32_t count, uint32_t now)
{
  if (r->t0 == 0U)
  {
    r->t0 = now;                              /* ilk çağrı: pencereyi başlat */
    r->n0 = count;
  }
  else if (now - r->t0 >= RATE_WINDOW_MS)
  {
    r->hz = (count - r->n0) * 1000U / (now - r->t0);
    r->t0 = now;
    r->n0 = count;
  }
}

static void print_hz(const rate_t *r)
{
  if (r->hz > 0U)
  {
    printf("%3lu", (unsigned long)r->hz);
  }
  else
  {
    printf(" ??");                            /* ilk 1 s: henüz ölçülmedi */
  }
}

/* İki satır basar:
     1) Rotation Vector: yaw/pitch/roll + quaternion + heading hatası
     2) Accelerometer (m/s², |a|) + kalibre gyro (°/s) + manyetik alan büyüklüğü (µT)
   Her sensörün accuracy durumu (acc) ve gerçek geliş hızı (Hz) ayrı ayrı. */
static void print_orientation(void)
{
  static rate_t rv_rate, acc_rate, gyr_rate;
  uint32_t now = HAL_GetTick();
  rate_update(&rv_rate,  imu.rv.meta.count,    now);
  rate_update(&acc_rate, imu.accel.meta.count, now);
  rate_update(&gyr_rate, imu.gyro.meta.count,  now);

  /* 1) Yönelim */
  float yaw, pitch, roll;
  bno085_quat_to_euler(&imu.rv, &yaw, &pitch, &roll);

  /* RV örneğinin zamanı: saniye.mikrosaniye (nano printf %llu desteklemiyor -> iki parça) */
  uint64_t t = imu.rv.meta.t_us;
  printf("t=%5lu.%06lu ", (unsigned long)(t / 1000000U), (unsigned long)(t % 1000000U));
  print_fixed("yaw=",           yaw,         2, 7);
  print_fixed(" pitch=",        pitch,       2, 7);
  print_fixed(" roll=",         roll,        2, 7);
  print_fixed(" | q(w,x,y,z)=", imu.rv.real, 4, 7);
  print_fixed(",",              imu.rv.i,    4, 7);
  print_fixed(",",              imu.rv.j,    4, 7);
  print_fixed(",",              imu.rv.k,    4, 7);
  printf(" | acc=%u", imu.rv.status);
  print_fixed(" +-", imu.rv.accuracy_rad * RAD2DEG, 1, 5);
  printf(" deg | ");
  print_hz(&rv_rate);
  printf(" Hz\r\n");

  /* 2) Ham sensörler. |a| = ivme vektörünün boyu: sensör dururken sadece
     yerçekimini ölçer -> yönünden bağımsız ~9.81 m/s² olmalı. */
  const bno085_vec3_t *a = &imu.accel;
  const bno085_vec3_t *g = &imu.gyro;
  float a_mag = sqrtf(a->x * a->x + a->y * a->y + a->z * a->z);

  print_fixed("    ivme=", a->x, 2, 6);
  print_fixed(",",         a->y, 2, 6);
  print_fixed(",",         a->z, 2, 6);
  print_fixed(" m/s2 |a|=", a_mag, 2, 5);
  printf(" acc=%u", a->status);
  print_fixed(" | gyro=", g->x * RAD2DEG, 2, 7);  /* rad/s -> °/s */
  print_fixed(",",        g->y * RAD2DEG, 2, 7);
  print_fixed(",",        g->z * RAD2DEG, 2, 7);
  printf(" dps acc=%u", g->status);
  const bno085_vec3_t *m = &imu.mag;
  print_fixed(" | mag |B|=", sqrtf(m->x * m->x + m->y * m->y + m->z * m->z), 1, 5);
  printf(" uT acc=%u | ", m->status);
  print_hz(&acc_rate);
  printf("/");
  print_hz(&gyr_rate);
  printf(" Hz\r\n");
}

/* Saniyelik özet: her sensör için örnekler arası süre (dt) ve seq kayıpları.
     dt = ardışık iki raporun SENSÖR zaman damgaları farkı (host'un okuma anı değil).
     Nominal: RV ve gyro 10000 us, accel 8000 us. */
static void print_timing(void)
{
  printf("    zaman:");
  print_meta(" RV",  &imu.rv.meta);
  print_meta(" | ACC", &imu.accel.meta);
  print_meta(" | GYR", &imu.gyro.meta);
  print_meta(" | MAG", &imu.mag.meta);
  printf("\r\n");

  if (bno085_stale_reads() > 0U)
  {
    printf("    UYARI: eski INT referansiyla okunan paket: %lu\r\n", (unsigned long)bno085_stale_reads());
  }

  /* Yeni bir "zaman geri gitti" olayı olduysa ham bileşenlerini bas. */
  static uint32_t tback_seen = 0;
  const bno085_tback_t *tb = bno085_tback_info();
  if (tb->count != tback_seen)
  {
    tback_seen = tb->count;
    printf("    GERI detay: rapor 0x%02X seq %u\r\n      once : t=", tb->report_id, tb->seq);
    print_sec(tb->t_prev_us);
    printf(" INT=");
    print_sec(tb->int_prev_us);
    printf(" ref=%ld delay=%u (x100 us)\r\n      sonra: t=", (long)tb->ref_prev, tb->delay_prev);
    print_sec(tb->t_new_us);
    printf(" INT=");
    print_sec(tb->int_new_us);
    printf(" ref=%ld delay=%u (x100 us) | okuma gecikmesi %lu us, referans eski: %s\r\n",
           (long)tb->ref_new, tb->delay_new, (unsigned long)tb->lat_new_us,
           tb->stale_new ? "EVET" : "hayir");
  }
}

/* Bir sensörün dt ort/min/max'ını ve toplam kaybını basar, dt penceresini sıfırlar. */
static void print_meta(const char *name, bno085_meta_t *m)
{
  if (m->dt_n == 0U)
  {
    printf("%s dt= -", name);
  }
  else
  {
    printf("%s dt=%lu (%lu..%lu) us", name, (unsigned long)(m->dt_sum / m->dt_n),
           (unsigned long)m->dt_min, (unsigned long)m->dt_max);
  }
  printf(" kayip %lu", (unsigned long)m->lost);
  if (m->t_back > 0U)
  {
    printf(" GERI %lu", (unsigned long)m->t_back);   /* zaman damgası geri gitti: olmamalı */
  }
  m->dt_n   = 0;
  m->dt_sum = 0;
}

/* newlib-nano'da float printf kapalı: v'yi ölçekli integer'a çevirip "-123.45"
   gibi basar. decimals = 1..4 ondalık hane, width = sağa yaslama genişliği. */
static void print_fixed(const char *label, float v, uint8_t decimals, int width)
{
  int      dec   = (decimals < 1U) ? 1 : (decimals > 4U) ? 4 : (int)decimals;
  uint32_t scale = 1U;
  for (int d = 0; d < dec; d++)
  {
    scale *= 10U;
  }
  float    a = (v < 0.0f) ? -v : v;
  uint32_t x = (uint32_t)(a * (float)scale + 0.5f);   /* +0.5: en yakına yuvarla */

  char s[24];                                         /* "-" + 10 hane + "." + 10 hane + NUL */
  snprintf(s, sizeof(s), "%s%lu.%0*lu", (v < 0.0f && x != 0U) ? "-" : "",
           (unsigned long)(x / scale), dec, (unsigned long)(x % scale));
  printf("%s%*s", label, width, s);
}

/* USER CODE END 4 */

void Error_Handler(void)
{
  /* USER CODE BEGIN Error_Handler_Debug */
  /* Kurtarılamayan hata: LD1 (PC7) hızlı yanıp sönsün. UART o an hazır olmayabilir
     (ör. SystemClock_Config'te LSE kristali başlamazsa daha MX_*_Init çalışmadan
     buraya düşülür), LED ise her durumda görünür. Interrupt'lar kapalı olduğu için
     HAL_Delay (SysTick) çalışmaz: gecikme boş döngüyle, o anki saat hızına göre. */
  __disable_irq();
  __HAL_RCC_GPIOC_CLK_ENABLE();
  GPIO_InitTypeDef led = {0};
  led.Pin   = Onboard_LED_Pin;
  led.Mode  = GPIO_MODE_OUTPUT_PP;
  led.Pull  = GPIO_NOPULL;
  led.Speed = GPIO_SPEED_FREQ_LOW;
  HAL_GPIO_Init(Onboard_LED_GPIO_Port, &led);
  while (1)
  {
    HAL_GPIO_TogglePin(Onboard_LED_GPIO_Port, Onboard_LED_Pin);
    for (volatile uint32_t i = 0; i < SystemCoreClock / 40U; i++)
    {
      /* ~1/8 s: döngü başına birkaç cycle */
    }
  }
  /* USER CODE END Error_Handler_Debug */
}
